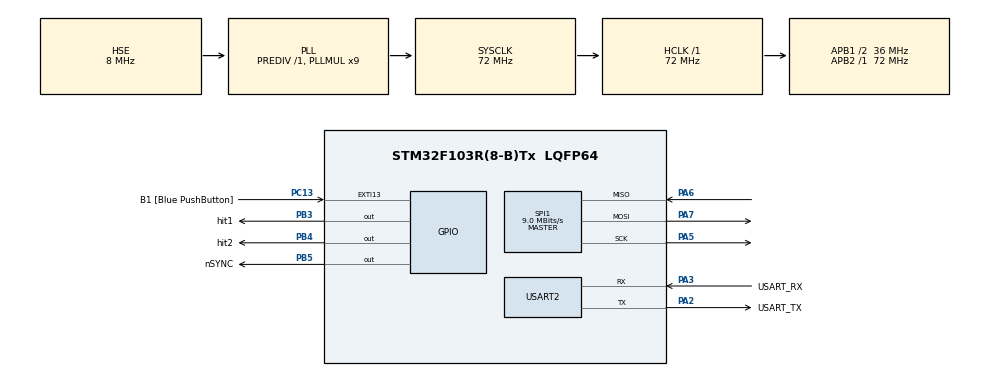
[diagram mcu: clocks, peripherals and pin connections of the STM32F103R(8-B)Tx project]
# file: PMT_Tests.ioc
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Mcu.Family=STM32F1
Mcu.Name=STM32F103R(8-B)Tx
Mcu.Package=LQFP64
NVIC.EXTI15_10_IRQn=true\:0\:0\:false\:false\:true\:true\:true\:true
NVIC.PriorityGroup=NVIC_PRIORITYGROUP_4
NVIC.USART2_IRQn=true\:0\:0\:false\:false\:true\:true\:true\:true
PA13.GPIO_Label=TMS
PA13.Mode=Serial_Wire
PA13.Signal=SYS_JTMS-SWDIO
PA14.GPIO_Label=TCK
PA14.Mode=Serial_Wire
PA14.Signal=SYS_JTCK-SWCLK
PA2.GPIO_Label=USART_TX
PA2.GPIO_Mode=GPIO_MODE_AF_PP
PA2.GPIO_PuPd=GPIO_NOPULL
PA2.GPIO_Speed=GPIO_SPEED_FREQ_LOW
PA2.Mode=Asynchronous
PA2.Signal=USART2_TX
PA3.GPIO_Label=USART_RX
PA3.GPIO_Mode=GPIO_MODE_AF_PP
PA3.GPIO_PuPd=GPIO_NOPULL
PA3.GPIO_Speed=GPIO_SPEED_FREQ_LOW
PA3.Mode=Asynchronous
PA3.Signal=USART2_RX
PA5.Mode=Full_Duplex_Master
PA5.Signal=SPI1_SCK
PA6.Mode=Full_Duplex_Master
PA6.Signal=SPI1_MISO
PA7.Mode=Full_Duplex_Master
PA7.Signal=SPI1_MOSI
PB3.GPIO_Label=hit1
PB3.Signal=GPIO_Output
PB4.GPIO_Label=hit2
PB4.Signal=GPIO_Output
PB5.GPIO_Label=nSYNC
PB5.Signal=GPIO_Output
PC13-TAMPER-RTC.GPIO_Label=B1 [Blue PushButton]
PC13-TAMPER-RTC.GPIO_PuPd=GPIO_NOPULL
PC13-TAMPER-RTC.Signal=GPXTI13
PC14-OSC32_IN.Mode=LSE-External-Oscillator
PC14-OSC32_IN.Signal=RCC_OSC32_IN
PC15-OSC32_OUT.Mode=LSE-External-Oscillator
PC15-OSC32_OUT.Signal=RCC_OSC32_OUT
PD0-OSC_IN.Mode=HSE-External-Clock-Source
PD0-OSC_IN.Signal=RCC_OSC_IN
PD1-OSC_OUT.Mode=HSE-External-Clock-Source
PD1-OSC_OUT.Signal=RCC_OSC_OUT
ProjectManager.HeapSize=0x200
ProjectManager.StackSize=0x400
ProjectManager.TargetToolchain=STM32CubeIDE
RCC.AHBFreq_Value=72000000
RCC.APB1CLKDivider=RCC_HCLK_DIV2
RCC.APB1Freq_Value=36000000
RCC.APB1TimFreq_Value=72000000
RCC.APB2Freq_Value=72000000
RCC.APB2TimFreq_Value=72000000
RCC.HCLKFreq_Value=72000000
RCC.PLLMUL=RCC_PLL_MUL9
RCC.PLLSourceVirtual=RCC_PLLSOURCE_HSE
RCC.RTCClockSelection=RCC_RTCCLKSOURCE_LSE
RCC.SYSCLKFreq_VALUE=72000000
RCC.SYSCLKSource=RCC_SYSCLKSOURCE_PLLCLK
RCC.USBFreq_Value=72000000
SPI1.BaudRatePrescaler=SPI_BAUDRATEPRESCALER_8
SPI1.CLKPhase=SPI_PHASE_2EDGE
SPI1.CalculateBaudRate=9.0 MBits/s
SPI1.Direction=SPI_DIRECTION_2LINES
SPI1.FirstBit=SPI_FIRSTBIT_MSB
SPI1.Mode=SPI_MODE_MASTER
SPI1.VirtualType=VM_MASTER
TIM2.AutoReloadPreload=TIM_AUTORELOAD_PRELOAD_ENABLE
TIM2.Prescaler=0
USART2.VirtualMode=VM_ASYNC
VP_TIM2_VS_ClockSourceINT.Mode=Internal
board=NUCLEO-F103RB

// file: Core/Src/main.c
/* USER CODE BEGIN Header */
/**
  ******************************************************************************
  * @file           : main.c
  * @brief          : Main program body
  ******************************************************************************
  * @attention
  *
  * Copyright (c) 2025 STMicroelectronics.
  * All rights reserved.
  *
  * This software is licensed under terms that can be found in the LICENSE file
  * in the root directory of this software component.
  * If no LICENSE file comes with this software, it is provided AS-IS.
  *
  ******************************************************************************
  */
/* USER CODE END Header */
#include "main.h"

/* USER CODE BEGIN Includes */
#include "pmt.h"
/* USER CODE END Includes */

SPI_HandleTypeDef hspi1;

TIM_HandleTypeDef htim2;

UART_HandleTypeDef huart2;

/* USER CODE BEGIN PV */
extern PMTSIM_TypeDef  pmtSim;					/*<Exported PMT-SIM object>*/

extern uint8_t tempChar;						/*<Exported received char from UART>*/

extern uint32_t then;							/*<Exported lastTick of 3rd mode>*/

extern volatile uint8_t selectedDACOutput;		/*<Exported selected Output to write Voltage>*/

extern volatile float   selectedOUTVoltage;		/*<Exported selected value of Voltage to set on selected DAC's output>*/

/* USER CODE END PV */

void SystemClock_Config(void);
static void MX_GPIO_Init(void);
static void MX_USART2_UART_Init(void);
static void MX_SPI1_Init(void);
static void MX_TIM2_Init(void);

int main(void)
{

  /* MCU Configuration--------------------------------------------------------*/

  /* Reset of all peripherals, Initializes the Flash interface and the Systick. */
  HAL_Init();

  /* Configure the system clock */
  SystemClock_Config();

  /* Initialize all configured peripherals */
  MX_GPIO_Init();
  MX_USART2_UART_Init();
  MX_SPI1_Init();
  MX_TIM2_Init();
  /* USER CODE BEGIN 2 */

  HAL_TIM_Base_Start(&htim2); // Starting timer to provide delays in [ns]

  // Enabling interrupts for UART (implementation on DMA is possible)
  if(HAL_UART_Receive_IT(&huart2, &tempChar, 1) != HAL_OK){
	  Error_Handler();
  }

  // Init of PMTSIM

  /* USER CODE END 2 */

  /* Infinite loop */
  /* USER CODE BEGIN WHILE */

  // setting default state on LDAC pin of DAC (it's wired to GPIO pin by GPIO wire)
  AD5361_GPIO_H();

  // Setting default state of PMT-SIM
  AD5360_SetVoltage(5, 5.0f, 1);

  // Reading current tick to provide correct period of 3rd mode execution
  then = HAL_GetTick();

  while (1)
  {

    /* USER CODE END WHILE */

    /* USER CODE BEGIN 3 */

	  	  // executing HIT command
	  	  PMT_ExecuteHITCommand(&pmtSim);

	  	  // executing SetVoltage command
	  	  if(selectedDACOutput != 0){

	  		// writing selected voltage value to selected DAC's output
	  		AD5360_SetVoltage(selectedOUTVoltage, 5.0f, selectedDACOutput);

	  		// reseting selectedDACOutput flag
	  		selectedDACOutput = 0;

	  	  }
  }
  /* USER CODE END 3 */
}

void SystemClock_Config(void)
{
  RCC_OscInitTypeDef RCC_OscInitStruct = {0};
  RCC_ClkInitTypeDef RCC_ClkInitStruct = {0};

  /** Initializes the RCC Oscillators according to the specified parameters
  * in the RCC_OscInitTypeDef structure.
  */
  RCC_OscInitStruct.OscillatorType = RCC_OSCILLATORTYPE_HSE;
  RCC_OscInitStruct.HSEState = RCC_HSE_BYPASS;
  RCC_OscInitStruct.HSEPredivValue = RCC_HSE_PREDIV_DIV1;
  RCC_OscInitStruct.HSIState = RCC_HSI_ON;
  RCC_OscInitStruct.PLL.PLLState = RCC_PLL_ON;
  RCC_OscInitStruct.PLL.PLLSource = RCC_PLLSOURCE_HSE;
  RCC_OscInitStruct.PLL.PLLMUL = RCC_PLL_MUL9;
  if (HAL_RCC_OscConfig(&RCC_OscInitStruct) != HAL_OK)
  {
    Error_Handler();
  }

  /** Initializes the CPU, AHB and APB buses clocks
  */
  RCC_ClkInitStruct.ClockType = RCC_CLOCKTYPE_HCLK|RCC_CLOCKTYPE_SYSCLK
                              |RCC_CLOCKTYPE_PCLK1|RCC_CLOCKTYPE_PCLK2;
  RCC_ClkInitStruct.SYSCLKSource = RCC_SYSCLKSOURCE_PLLCLK;
  RCC_ClkInitStruct.AHBCLKDivider = RCC_SYSCLK_DIV1;
  RCC_ClkInitStruct.APB1CLKDivider = RCC_HCLK_DIV2;
  RCC_ClkInitStruct.APB2CLKDivider = RCC_HCLK_DIV1;

  if (HAL_RCC_ClockConfig(&RCC_ClkInitStruct, FLASH_LATENCY_2) != HAL_OK)
  {
    Error_Handler();
  }
}

static void MX_SPI1_Init(void)
{

  /* SPI1 parameter configuration*/
  hspi1.Instance = SPI1;
  hspi1.Init.Mode = SPI_MODE_MASTER;
  hspi1.Init.Direction = SPI_DIRECTION_2LINES;
  hspi1.Init.DataSize = SPI_DATASIZE_8BIT;
  hspi1.Init.CLKPolarity = SPI_POLARITY_LOW;
  hspi1.Init.CLKPhase = SPI_PHASE_2EDGE;
  hspi1.Init.NSS = SPI_NSS_SOFT;
  hspi1.Init.BaudRatePrescaler = SPI_BAUDRATEPRESCALER_8;
  hspi1.Init.FirstBit = SPI_FIRSTBIT_MSB;
  hspi1.Init.TIMode = SPI_TIMODE_DISABLE;
  hspi1.Init.CRCCalculation = SPI_CRCCALCULATION_DISABLE;
  hspi1.Init.CRCPolynomial = 10;
  if (HAL_SPI_Init(&hspi1) != HAL_OK)
  {
    Error_Handler();
  }

}

static void MX_TIM2_Init(void)
{

  TIM_ClockConfigTypeDef sClockSourceConfig = {0};
  TIM_MasterConfigTypeDef sMasterConfig = {0};

  htim2.Instance = TIM2;
  htim2.Init.Prescaler = 0;
  htim2.Init.CounterMode = TIM_COUNTERMODE_UP;
  htim2.Init.Period = 65535;
  htim2.Init.ClockDivision = TIM_CLOCKDIVISION_DIV1;
  htim2.Init.AutoReloadPreload = TIM_AUTORELOAD_PRELOAD_ENABLE;
  if (HAL_TIM_Base_Init(&htim2) != HAL_OK)
  {
    Error_Handler();
  }
  sClockSourceConfig.ClockSource = TIM_CLOCKSOURCE_INTERNAL;
  if (HAL_TIM_ConfigClockSource(&htim2, &sClockSourceConfig) != HAL_OK)
  {
    Error_Handler();
  }
  sMasterConfig.MasterOutputTrigger = TIM_TRGO_RESET;
  sMasterConfig.MasterSlaveMode = TIM_MASTERSLAVEMODE_DISABLE;
  if (HAL_TIMEx_MasterConfigSynchronization(&htim2, &sMasterConfig) != HAL_OK)
  {
    Error_Handler();
  }

}

static void MX_USART2_UART_Init(void)
{

  huart2.Instance = USART2;
  huart2.Init.BaudRate = 115200;
  huart2.Init.WordLength = UART_WORDLENGTH_8B;
  huart2.Init.StopBits = UART_STOPBITS_1;
  huart2.Init.Parity = UART_PARITY_NONE;
  huart2.Init.Mode = UART_MODE_TX_RX;
  huart2.Init.HwFlowCtl = UART_HWCONTROL_NONE;
  huart2.Init.OverSampling = UART_OVERSAMPLING_16;
  if (HAL_UART_Init(&huart2) != HAL_OK)
  {
    Error_Handler();
  }

}

static void MX_GPIO_Init(void)
{
  GPIO_InitTypeDef GPIO_InitStruct = {0};

  /* GPIO Ports Clock Enable */
  __HAL_RCC_GPIOC_CLK_ENABLE();
  __HAL_RCC_GPIOD_CLK_ENABLE();
  __HAL_RCC_GPIOA_CLK_ENABLE();
  __HAL_RCC_GPIOB_CLK_ENABLE();

  /*Configure GPIO pin Output Level */
  HAL_GPIO_WritePin(GPIOB, hit1_Pin|hit2_Pin|nSYNC_Pin, GPIO_PIN_RESET);

  /*Configure GPIO pin : B1_Pin */
  GPIO_InitStruct.Pin = B1_Pin;
  GPIO_InitStruct.Mode = GPIO_MODE_IT_RISING;
  GPIO_InitStruct.Pull = GPIO_NOPULL;
  HAL_GPIO_Init(B1_GPIO_Port, &GPIO_InitStruct);

  /*Configure GPIO pins : hit1_Pin hit2_Pin nSYNC_Pin */
  GPIO_InitStruct.Pin = hit1_Pin|hit2_Pin|nSYNC_Pin;
  GPIO_InitStruct.Mode = GPIO_MODE_OUTPUT_PP;
  GPIO_InitStruct.Pull = GPIO_NOPULL;
  GPIO_InitStruct.Speed = GPIO_SPEED_FREQ_LOW;
  HAL_GPIO_Init(GPIOB, &GPIO_InitStruct);

  /* EXTI interrupt init*/
  HAL_NVIC_SetPriority(EXTI15_10_IRQn, 0, 0);
  HAL_NVIC_EnableIRQ(EXTI15_10_IRQn);

}

void Error_Handler(void)
{
  __disable_irq();
  while (1)
  {
  }
}
